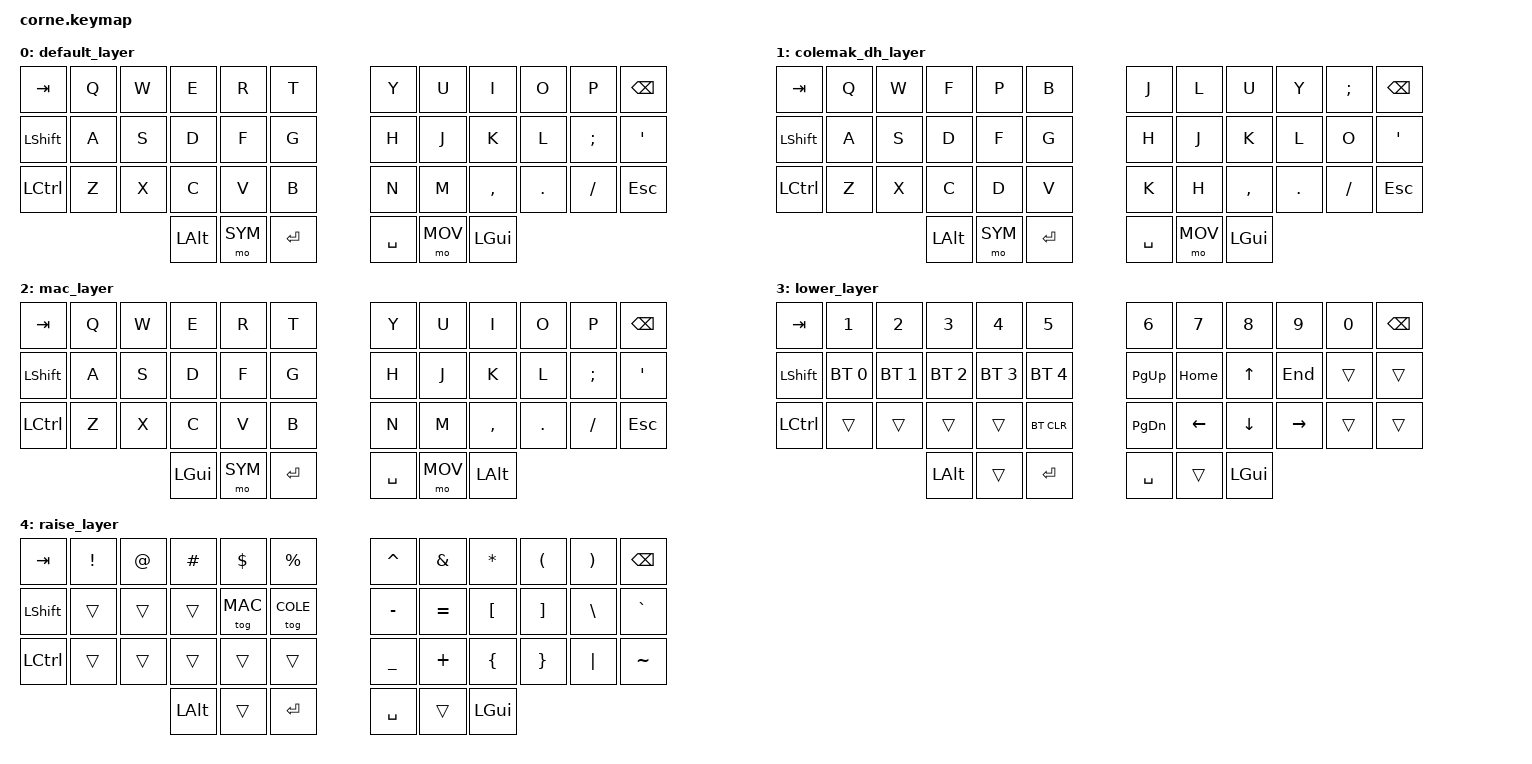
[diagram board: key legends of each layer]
/*
 * Copyright (c) 2020 The ZMK Contributors
 *
 * SPDX-License-Identifier: MIT
 */

#include <behaviors.dtsi>
#include <dt-bindings/zmk/keys.h>
#include <dt-bindings/zmk/bt.h>

// Keys: https://github.com/zmkfirmware/zmk/blob/main/app/include/dt-bindings/zmk/keys.h
// Behaviors: https://zmk.dev/docs/behaviors/key-press

#define DFLT 0
#define COLE 1
#define MAC  2
#define MOV  3
#define SYM  4

/ {
    keymap {
        compatible = "zmk,keymap";

        // 0
        default_layer {
// -----------------------------------------------------------------------------------------
// |  TAB |  Q  |  W  |  E  |  R  |  T  |   |  Y  |  U   |  I  |  O  |  P  | BKSP |
// | SHFT |  A  |  S  |  D  |  F  |  G  |   |  H  |  J   |  K  |  L  |  ;  |  '   |
// | CTRL |  Z  |  X  |  C  |  V  |  B  |   |  N  |  M   |  ,  |  .  |  /  | ESC  |
//                    | ALT | LWR | ENT |   | SPC | RSE  | GUI |
            bindings = <
        //╭──────────┬──────────┬──────────┬──────────┬──────────┬──────────╮   ╭──────────┬──────────┬──────────┬──────────┬──────────┬──────────╮
        //│  TAB     │  Q       │  W       │  E       │  R       │  T       │   │  Y       │  U       │  I       │  O       │  P         BKSPACE  │
            &kp TAB    &kp Q      &kp W      &kp E      &kp R      &kp T          &kp Y      &kp U      &kp I      &kp O      &kp P      &kp BSPC  
        //├──────────┼──────────┼──────────┼──────────┼──────────┼──────────┤   ├──────────┼──────────┼──────────┼──────────┼──────────┼──────────┤
        //│  SHIFT   │  A       │  S       │  D       │  F       │  G       │   │  H       │  J       │  K       │  L       │  ;       │  '       │
           &kp LSHFT   &kp A      &kp S      &kp D      &kp F      &kp G          &kp H      &kp J      &kp K      &kp L      &kp SEMI   &kp SQT   
        //├──────────┼──────────┼──────────┼──────────┼──────────┼──────────┤   ├──────────┼──────────┼──────────┼──────────┼──────────┼──────────┤
        //│  CTRL    │  Z       │  X       │  C       │  V       │  B       │   │  N       │  M       │ , <      │ . >      │ / ?      │  ESC     │
           &kp LCTRL   &kp Z      &kp X      &kp C      &kp V      &kp B          &kp N      &kp M      &kp COMMA  &kp DOT    &kp FSLH   &kp ESC   
        //╰──────────┴──────────┴──────────┼──────────┼──────────┼──────────┤   ├──────────┼──────────┼──────────┼──────────┴──────────┴──────────╯
        //                                 │  ALT     │  RAISE   │  ENTER   │   │  SPACE   │  LOWER   │  GUI     │
                                             &kp LALT   &mo SYM    &kp RET       &kp SPACE   &mo MOV    &kp LGUI  
        //                                 ╰──────────┴──────────┴──────────╯   ╰──────────┴──────────┴──────────╯
            >;
        };

        // 1
        colemak_dh_layer {
// -----------------------------------------------------------------------------------------
// |  TAB |  Q  |  W  |  F  |  P  |  B  |   |  J  |  L   |  U  |  Y  |  ;  | BKSP |
// | SHFT |  A  |  R  |  S  |  T  |  G  |   |  M  |  N   |  E  |  I  |  O  |  '   |
// | CTRL |  Z  |  X  |  C  |  D  |  V  |   |  K  |  H   |  ,  |  .  |  /  | ESC  |
//                    | ALT | LWR | ENT |   | SPC | RSE  | GUI |
            bindings = <
        //╭──────────┬──────────┬──────────┬──────────┬──────────┬──────────╮   ╭──────────┬──────────┬──────────┬──────────┬──────────┬──────────╮
        //│  TAB     │  Q       │  W       │  F       │  P       │  B       │   │  J       │  L       │  U       │  Y       │  ;         BKSPACE  │
            &kp TAB    &kp Q      &kp W      &kp F      &kp P      &kp B          &kp J      &kp L      &kp U      &kp Y      &kp SEMI   &kp BSPC  
        //├──────────┼──────────┼──────────┼──────────┼──────────┼──────────┤   ├──────────┼──────────┼──────────┼──────────┼──────────┼──────────┤
        //│  SHIFT   │  A       │  R       │  S       │  T       │  G       │   │  M       │  N       │  E       │  I       │  O       │  '       │
           &kp LSHFT   &kp A      &kp S      &kp D      &kp F      &kp G          &kp H      &kp J      &kp K      &kp L      &kp O      &kp SQT   
        //├──────────┼──────────┼──────────┼──────────┼──────────┼──────────┤   ├──────────┼──────────┼──────────┼──────────┼──────────┼──────────┤
        //│  CTRL    │  Z       │  X       │  C       │  D       │  V       │   │  K       │  H       │ , <      │ . >      │ / ?      │  ESC     │
           &kp LCTRL   &kp Z      &kp X      &kp C      &kp D      &kp V          &kp K      &kp H      &kp COMMA  &kp DOT    &kp FSLH   &kp ESC   
        //╰──────────┴──────────┴──────────┼──────────┼──────────┼──────────┤   ├──────────┼──────────┼──────────┼──────────┴──────────┴──────────╯
        //                                 │  ALT     │  RAISE   │  ENTER   │   │  SPACE   │  LOWER   │  GUI     │
                                             &kp LALT   &mo SYM    &kp RET       &kp SPACE    &mo MOV    &kp LGUI 
        //                                 ╰──────────┴──────────┴──────────╯   ╰──────────┴──────────┴──────────╯
            >;
        };

        // 2
        mac_layer {
            // MAC uses GUI key for copy, instead of ctrl. But I want to leave ctrl for linux, because I'll always need that.
            // Try swapping alt and gui, so gui is closer to x/c/v.
            bindings = <
        //╭──────────┬──────────┬──────────┬──────────┬──────────┬──────────╮   ╭──────────┬──────────┬──────────┬──────────┬──────────┬──────────╮
        //│  TAB     │  Q       │  W       │  E       │  R       │  T       │   │  Y       │  U       │  I       │  O       │  P         BKSPACE  │
            &kp TAB    &kp Q      &kp W      &kp E      &kp R      &kp T          &kp Y      &kp U      &kp I      &kp O      &kp P      &kp BSPC  
        //├──────────┼──────────┼──────────┼──────────┼──────────┼──────────┤   ├──────────┼──────────┼──────────┼──────────┼──────────┼──────────┤
        //│  SHIFT   │  A       │  S       │  D       │  F       │  G       │   │  H       │  J       │  K       │  L       │  ;       │  '       │
           &kp LSHFT   &kp A      &kp S      &kp D      &kp F      &kp G          &kp H      &kp J      &kp K      &kp L      &kp SEMI   &kp SQT   
        //├──────────┼──────────┼──────────┼──────────┼──────────┼──────────┤   ├──────────┼──────────┼──────────┼──────────┼──────────┼──────────┤
        //│  CTRL    │  Z       │  X       │  C       │  V       │  B       │   │  N       │  M       │ , <      │ . >      │ / ?      │  ESC     │
           &kp LCTRL   &kp Z      &kp X      &kp C      &kp V      &kp B          &kp N      &kp M      &kp COMMA  &kp DOT    &kp FSLH   &kp ESC   
        //╰──────────┴──────────┴──────────┼──────────┼──────────┼──────────┤   ├──────────┼──────────┼──────────┼──────────┴──────────┴──────────╯
        //                                 │   GUI    │  RAISE   │  ENTER   │   │  SPACE   │  LOWER   │  ALT     │
                                             &kp LGUI   &mo SYM    &kp RET       &kp SPACE    &mo MOV    &kp LALT 
        //                                 ╰──────────┴──────────┴──────────╯   ╰──────────┴──────────┴──────────╯
            >;
        };

        // 3
        lower_layer {
// -----------------------------------------------------------------------------------------
// |  TAB |  1  |  2  |  3  |  4  |  5   |    |  6    |  7   |  8   |  9    |  0  | BKSP |
// | SHFT | BT1 | BT2 | BT3 | BT4 | BT5  |    | PG_UP | HOME |  UP  |  END  |     |      |
// | CTRL |     |     |     |     |BTCLR |    | PG_DN | LEFT | DOWN | RIGHT |     |      |
//                    | ALT |     | ENT  |    | SPC   |      | GUI  |
            bindings = <
        //╭───────────┬─────────────┬─────────────┬─────────────┬─────────────┬─────────────╮   ╭────────────┬────────────┬──────────┬──────────┬──────────┬──────────╮
        //│  TAB      │  1          │  2          │  3          │  4          │  5          │   │  6         │  7         │  8       │  9       │  0       │ BKSPACE  │
            &kp TAB     &kp N1        &kp N2        &kp N3        &kp N4        &kp N5            &kp N6       &kp N7       &kp N8     &kp N9     &kp N0     &kp BSPC
        //├───────────┼─────────────┼─────────────┼─────────────┼─────────────┼─────────────┤   ├────────────┼────────────┼──────────┼──────────┼──────────┼──────────┤
        //│  SHIFT    │  BT1        │  BT2        │  BT3        │  BT4        │  BT5        │   │  PAGE UP   │  HOME      │  UP      │  END     │          │          │
            &kp LSHFT  &bt BT_SEL 0  &bt BT_SEL 1  &bt BT_SEL 2  &bt BT_SEL 3  &bt BT_SEL 4      &kp PG_UP     &kp HOME     &kp UP     &kp END     &trans     &trans   
        //├───────────┼─────────────┼─────────────┼─────────────┼─────────────┼─────────────┤   ├────────────┼────────────┼──────────┼──────────┼──────────┼──────────┤
        //│   CTRL    │             │             │             │             │   BTCLR     │   │  PAGE DN   │   LEFT     │   DOWN   │   RIGHT  │          │          │
            &kp LCTRL   &trans        &trans        &trans        &trans        &bt BT_CLR       &kp PG_DN     &kp LEFT     &kp DOWN  &kp RIGHT    &trans     &trans   
        //╰───────────┴─────────────┴─────────────┼─────────────┼─────────────┼─────────────┤   ├────────────┼────────────┼──────────┼──────────┴──────────┴──────────╯
        //                                        │  ALT        │             │  ENTER      │   │  SPACE     │ HELD TO ACT│  GUI     │
                                                    &kp LALT      &trans        &kp RET          &kp SPACE      &trans       &kp LGUI
        //                                        ╰─────────────┴─────────────┴─────────────╯   ╰────────────┴────────────┴──────────╯
            >;
        };

        // 4
        raise_layer {
// -----------------------------------------------------------------------------------------
// |  TAB |  !  |  @  |  #  |  $  |  %  |   |  ^  |  &  |  *  |  (  |  )  | BKSP |
// | CTRL |     |     |     |     | MAC |   |  -  |  =  |  [  |  ]  |  \  |  `   |
// | SHFT |     |     |     |     |     |   |  _  |  +  |  {  |  }  | "|" |  ~   |
//                    | ALT |     | ENT |   | SPC |     | GUI |
            bindings = <
        //╭───────────┬─────────────┬─────────────┬─────────────┬─────────────┬─────────────╮   ╭────────────┬────────────┬───────────┬───────────┬───────────┬───────────╮
        //│  TAB      │    !        │   @         │   #         │   $         │   %         │   │   ^        │   &        │   *       │   (       │   )       │ BKSPACE   │
            &kp TAB     &kp EXCL      &kp AT        &kp HASH      &kp DLLR      &kp PRCNT         &kp CARET    &kp AMPS     &kp ASTRK   &kp LPAR    &kp RPAR    &kp BSPC   
        //├───────────┼─────────────┼─────────────┼─────────────┼─────────────┼─────────────┤   ├────────────┼────────────┼───────────┼───────────┼───────────┼───────────┤
        //│  SHIFT    │             │             │             │             │             │   │   -        │   =        │   [       │   ]       │   \       │   `       │
            &kp LSHFT   &trans        &trans        &trans        &tog MAC      &tog COLE         &kp MINUS    &kp EQUAL    &kp LBKT     &kp RBKT   &kp BSLH    &kp GRAVE  
        //├───────────┼─────────────┼─────────────┼─────────────┼─────────────┼─────────────┤   ├────────────┼────────────┼───────────┼───────────┼───────────┼───────────┤
        //│   CTRL    │             │             │             │             │             │   │   _        │   +        │   {       │   }       │   |       │   ~       │
            &kp LCTRL   &trans        &trans        &trans        &trans        &trans            &kp UNDER    &kp PLUS     &kp LBRC    &kp RBRC    &kp PIPE    &kp TILDE  
        //╰───────────┴─────────────┴─────────────┼─────────────┼─────────────┼─────────────┤   ├────────────┼────────────┼───────────┼───────────┴───────────┴───────────╯
        //                                        │  ALT        │ HELD TO ACT │  ENTER      │   │  SPACE     │            │  GUI      │
                                                    &kp LALT      &trans        &kp RET          &kp SPACE      &trans       &kp LGUI  
        //                                        ╰─────────────┴─────────────┴─────────────╯   ╰────────────┴────────────┴───────────╯
            >;
        };
    };
};
